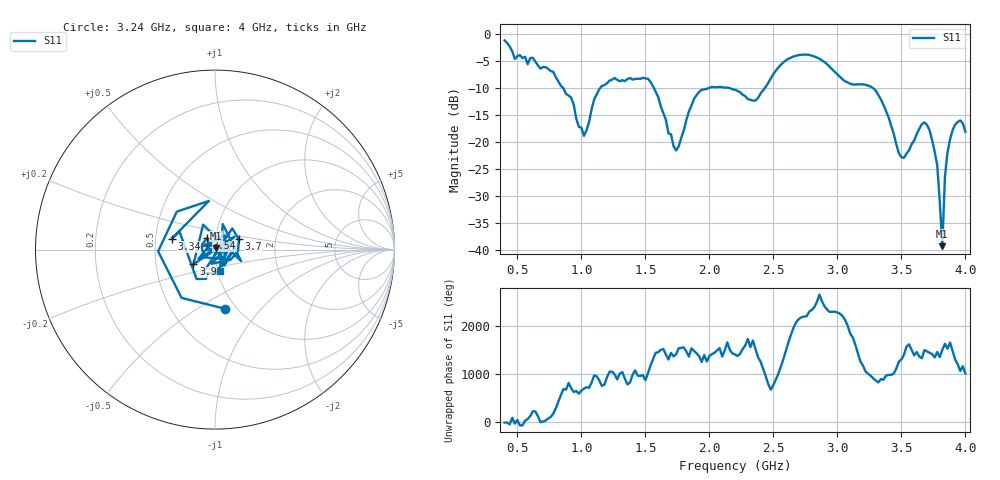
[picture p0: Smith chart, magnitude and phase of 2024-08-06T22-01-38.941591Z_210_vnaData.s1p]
!Created with skrf (http://scikit-rf.org).
# Hz S RI R 50.0
!freq ReS11 ImS11
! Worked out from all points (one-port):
!   181 points, 400 MHz to 4 GHz, reference 50 ohm
!   lowest |S11| = -39.3 dB at 3.82 GHz (marker M1), VSWR 1.02, Z = 50.6 + j0.899 ohm
!   |S11| at or under -10 dB: 858.8 MHz to 1.145 GHz (286.5 MHz wide, 28.6 % of centre); 1.567 GHz to 1.991 GHz (423.8 MHz wide, 23.8 % of centre); 3.281 GHz to end of sweep (the widest 3 of 4)
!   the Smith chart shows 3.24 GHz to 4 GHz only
!   S11 on the Smith chart (normalised r, x): 3.24 GHz: 0.89, -0.66; 3.34 GHz: 0.61, +0.08; 3.54 GHz: 0.91, +0.12; 3.7 GHz: 1.30, +0.15; 3.92 GHz: 0.78, -0.13; 4 GHz: 1.03, -0.25
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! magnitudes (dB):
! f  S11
! 400 MHz  -1.1
! 480 MHz  -4.5
! 620 MHz  -4.4
! 860 MHz  -10.0
! 1.02 GHz  -18.8
! 1.14 GHz  -10.2
! 1.3 GHz  -8.7
! 1.52 GHz  -8.2
! 1.72 GHz  -20.7
! 1.76 GHz  -20.8
! 1.92 GHz  -10.7
! 2.2 GHz  -10.3
! 2.36 GHz  -12.3
! 2.66 GHz  -4.1
! 2.86 GHz  -4.5
! 3.1 GHz  -9.2
! 3.24 GHz  -9.5
! 3.34 GHz  -12.1
! 3.48 GHz  -22.1
! 3.54 GHz  -22.1
! 3.56 GHz  -21.5
! 3.7 GHz  -16.8
! 3.78 GHz  -24.3
! 3.82 GHz  -39.3
! 3.84 GHz  -26.5
! 3.88 GHz  -19.5
! 3.92 GHz  -16.8
! 4 GHz  -18.1
